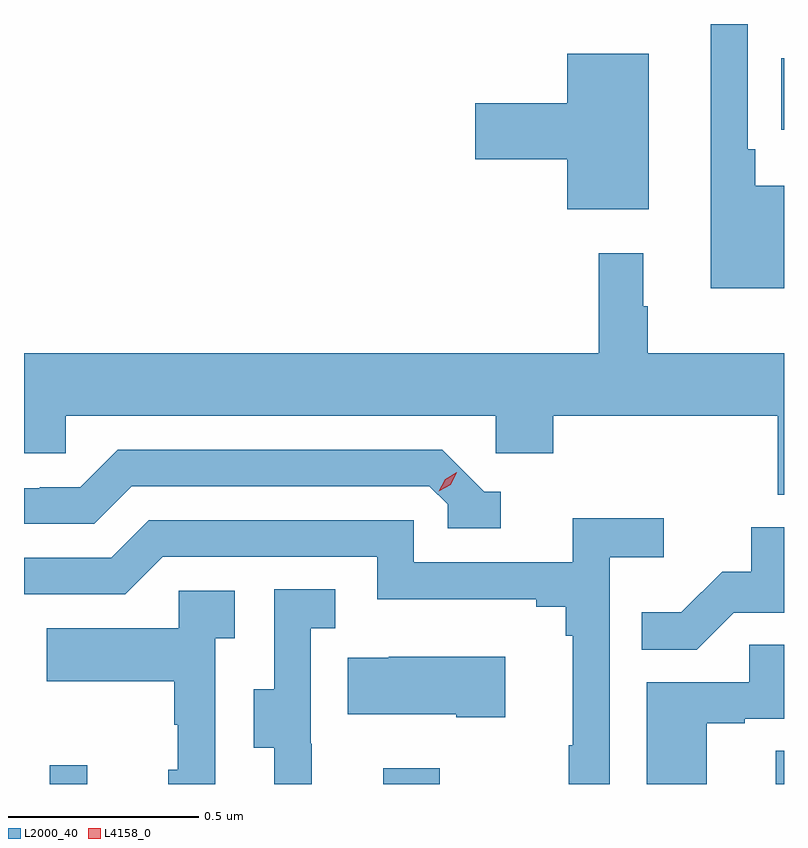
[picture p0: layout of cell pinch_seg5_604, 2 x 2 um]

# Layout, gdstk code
import gdstk
lib = gdstk.Library(unit=1e-6, precision=1e-09)
def R(c, l, rs):  # rectangles x0, y0, x1, y1
    for r in rs: c.add(gdstk.rectangle(r[:2], r[2:], *l))
def P(c, l, *ps):  # polygons
    for p in ps: c.add(gdstk.Polygon(p, *l))
L2000_40 = (2000, 40)
L4158_0 = (4158, 0)

pinch_seg5_604 = lib.new_cell('pinch_seg5_604')
R(pinch_seg5_604, L2000_40, [(1082.631,862.451,1082.729,862.501), (1083.509,862.451,1083.657,862.492), (1084.541,862.451,1084.563,862.538), (1084.556,864.173,1084.563,864.361)])
P(pinch_seg5_604, L2000_40, [(1084.563,864.025),(1084.487,864.025),(1084.487,864.121),(1084.467,864.121),(1084.467,864.451),(1084.37,864.451),(1084.37,863.756),(1084.563,863.756)],
  [(1084.207,864.373),(1083.992,864.373),(1083.992,864.242),(1083.75,864.242),(1083.75,864.095),(1083.992,864.095),(1083.992,863.963),(1084.207,863.963)],
  [(1084.563,863.584),(1084.204,863.584),(1084.204,863.708),(1084.192,863.708),(1084.192,863.848),(1084.075,863.848),(1084.075,863.584),(1082.563,863.584),(1082.563,863.322),(1082.673,863.322),(1082.673,863.42),(1083.804,863.42),(1083.804,863.322),(1083.956,863.322),(1083.956,863.42),(1084.547,863.42),(1084.547,863.212),(1084.563,863.212)],
  [(1083.817,863.22),(1083.774,863.22),(1083.663,863.331),(1082.81,863.331),(1082.711,863.232),(1082.604,863.232),(1082.604,863.229),(1082.563,863.229),(1082.563,863.136),(1082.748,863.136),(1082.847,863.235),(1083.63,863.235),(1083.678,863.187),(1083.678,863.124),(1083.817,863.124)],
  [(1084.104,863.048),(1084.246,863.048),(1084.246,863.15),(1084.007,863.15),(1084.007,863.034),(1083.588,863.034),(1083.588,863.145),(1082.891,863.145),(1082.792,863.046),(1082.563,863.046),(1082.563,862.95),(1082.829,862.95),(1082.928,863.049),(1083.492,863.049),(1083.492,862.937),(1083.911,862.937),(1083.911,862.918),(1083.988,862.918),(1083.988,862.841),(1084.007,862.841),(1084.007,862.553),(1083.996,862.553),(1083.996,862.451),(1084.104,862.451)],
  [(1084.431,862.902),(1084.563,862.902),(1084.563,863.127),(1084.477,863.127),(1084.477,863.01),(1084.4,863.01),(1084.293,862.903),(1084.189,862.903),(1084.189,862.804),(1084.333,862.804)],
  [(1083.32,862.557),(1083.318,862.557),(1083.318,862.861),(1083.382,862.861),(1083.382,862.964),(1083.222,862.964),(1083.222,862.701),(1083.167,862.701),(1083.167,862.546),(1083.221,862.546),(1083.221,862.451),(1083.32,862.451)],
  [(1083.066,862.835),(1083.118,862.835),(1083.118,862.959),(1082.97,862.959),(1082.97,862.861),(1082.623,862.861),(1082.623,862.721),(1082.958,862.721),(1082.958,862.607),(1082.968,862.607),(1082.968,862.488),(1082.942,862.488),(1082.942,862.451),(1083.066,862.451)],
  [(1084.36,862.611),(1084.46,862.611),(1084.46,862.623),(1084.563,862.623),(1084.563,862.817),(1084.471,862.817),(1084.471,862.719),(1084.202,862.719),(1084.202,862.451),(1084.36,862.451)],
  [(1083.829,862.786),(1083.523,862.786),(1083.523,862.783),(1083.415,862.783),(1083.415,862.634),(1083.701,862.634),(1083.701,862.627),(1083.829,862.627)])
P(pinch_seg5_604, L4158_0, [(1083.654,863.221),(1083.654,863.221),(1083.671,863.253),(1083.702,863.272),(1083.702,863.272),(1083.702,863.272),(1083.686,863.239),(1083.655,863.221)])

lib.write_gds('pinch_seg5_604.gds')
